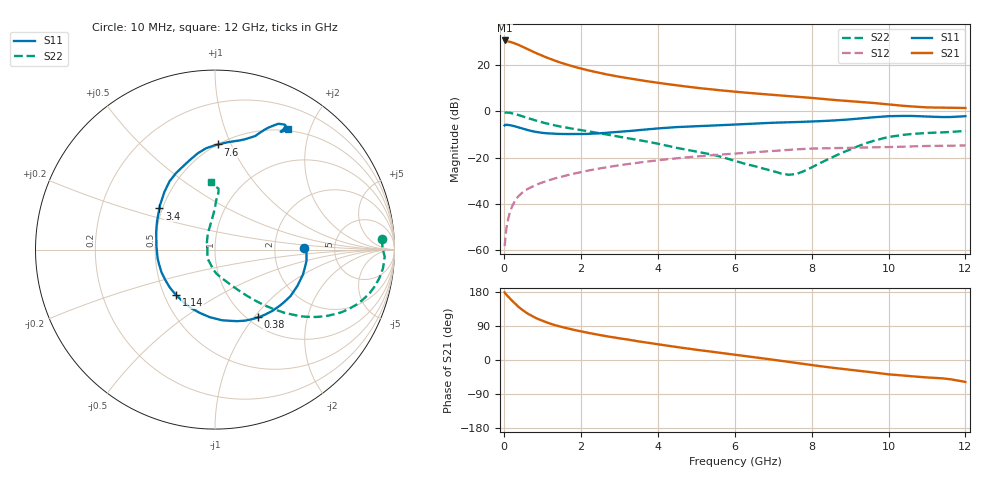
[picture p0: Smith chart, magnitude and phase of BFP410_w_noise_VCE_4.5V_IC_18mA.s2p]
! Infineon Technologies  Discrete & RF Semiconductors
! BFP410
! VCE =  4.5 V,  IC =  18 mA
! Common Emitter S-Parameters:  Nov 2015
# GHz  S  MA  R  50
!  f  S11  S21  S12  S22
! GHz  MAG  ANG  MAG  ANG  MAG  ANG  MAG  ANG
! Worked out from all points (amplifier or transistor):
!   243 points, 10 MHz to 12 GHz, reference 50 ohm
!   highest |S21| = 30.7 dB at 10 MHz (marker M1)
!   |S21| within 3 dB of that: start of sweep to 513.5 MHz
!   unconditionally stable (mu >= 1): start of sweep to 31.85 MHz; 1.974 GHz to end of sweep
!   at 240 MHz: K = 0.36, MSG = 34.8 dB, |S12| = -40.0 dB
!   at 1.84 GHz: K = 0.97, MSG = 23.1 dB, |S12| = -26.9 dB
!   at 12 GHz: K = 1.03, MAG = 7.1 dB, |S12| = -14.7 dB
!   lowest NFmin = 1.63 dB at 900 MHz
!   S11 on the Smith chart (normalised r, x): 10 MHz: 2.97, +0.06; 380 MHz: 1.11, -1.05; 1.14 GHz: 0.58, -0.33; 3.4 GHz: 0.48, +0.26; 7.6 GHz: 0.50, +0.90; 12 GHz: 0.48, +1.67
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0.01  0.497 0.9  34.36 178.5  0.0012 50.8  0.931 3.8
0.02  0.5099 -1.3  33.82 176.3  0.0014 46.0  0.9342 0.2
0.05  0.5138 -7.3  33.2 173.0  0.0027 64.1  0.9462 -2.4
0.1  0.5096 -15.8  32.78 167.7  0.0045 70.7  0.9417 -6.4
0.195  0.4946 -30.7  31.31 157.3  0.0083 71.5  0.9132 -12.9
0.3  0.4685 -46.5  29.2 146.7  0.0122 68.9  0.8669 -19.0
0.38  0.4473 -57.5  27.36 139.6  0.0147 66.9  0.827 -22.9
0.5  0.4173 -72.9  24.64 130.0  0.0182 64.3  0.7666 -27.8
0.6  0.396 -84.1  22.48 123.0  0.0206 62.6  0.7198 -31.0
0.7  0.3771 -94.7  20.55 117.2  0.0228 61.4  0.6769 -33.7
0.9  0.3517 -112.8  17.27 107.3  0.027 59.7  0.6049 -37.9
1.14  0.3329 -130.8  14.27 98.0  0.0317 58.6  0.5367 -41.5
1.48  0.3236 -150.8  11.29 87.6  0.0382 57.6  0.4662 -45.3
2.02  0.3231 -174.8  8.366 75.0  0.0488 55.2  0.3898 -49.9
2.6  0.3403 164.5  6.483 63.8  0.0602 51.7  0.3215 -54.6
3.4  0.3852 143.5  4.933 50.8  0.0757 46.1  0.2474 -61.7
4.1  0.4323 129.8  4.044 40.0  0.0891 40.7  0.191 -69.9
6.1  0.5236 104.5  2.623 12.7  0.1234 24.0  0.0801 -110.4
7.6  0.5862 88.3  2.082 -7.6  0.1502 10.1  0.0437 166.6
8.2  0.6122 80.2  1.887 -16.0  0.1574 3.4  0.0743 125.4
10.2  0.7908 62.1  1.364 -39.5  0.1701 -12.9  0.2947 87.5
12  0.7838 58.7  1.182 -57.8  0.1831 -28.8  0.3768 93.6
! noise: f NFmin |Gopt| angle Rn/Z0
0.45  1.66  0.11  -153  0.17
0.9  1.63  0.12  -155  0.16
1.8  1.76  0.16  -140  0.17
2.4  1.75  0.21  -123  0.24
5.5  2.63  0.42  -104  0.39
10  3.74  0.69  -46  2.37
